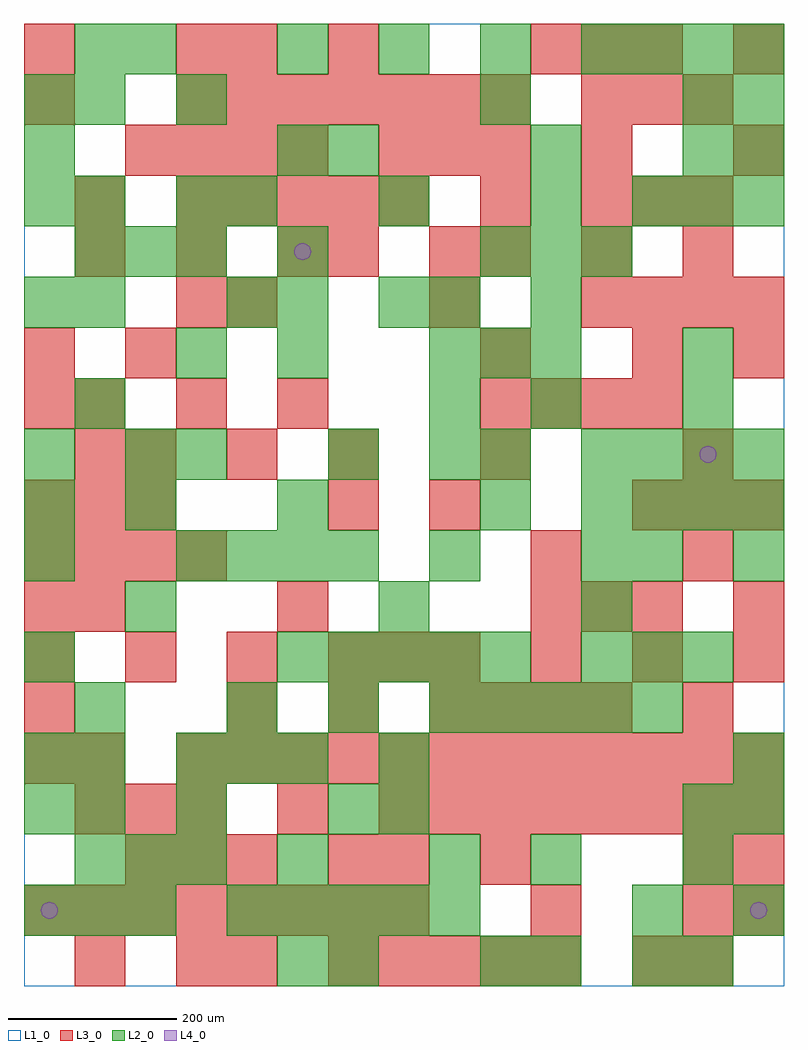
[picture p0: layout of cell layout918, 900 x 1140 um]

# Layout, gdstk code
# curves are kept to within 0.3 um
import gdstk
lib = gdstk.Library(unit=1e-6, precision=1e-09)
def R(c, l, rs):  # rectangles x0, y0, x1, y1
    for r in rs: c.add(gdstk.rectangle(r[:2], r[2:], *l))
def A(c, l, x, y, w, h, nx, ny, dx, dy):  # array of equal rectangles
    R(c, l, [(x+i*dx, y+j*dy, x+i*dx+w, y+j*dy+h) for i in range(nx) for j in range(ny)])
def P(c, l, *ps):  # polygons
    for p in ps: c.add(gdstk.Polygon(p, *l))
L1_0 = (1, 0)
L2_0 = (2, 0)
L3_0 = (3, 0)
L4_0 = (4, 0)

layout918 = lib.new_cell('layout918')
R(layout918, L1_0, [(0,0,900,1140)])
A(layout918, L2_0, 0, 60, 60, 60, 3, 1, 60, 0)
A(layout918, L2_0, 240, 60, 60, 60, 5, 1, 60, 0)
A(layout918, L2_0, 60, 120, 60, 60, 3, 2, 60, 720)
A(layout918, L2_0, 60, 180, 60, 60, 1, 3, 0, 60)
A(layout918, L2_0, 0, 240, 60, 60, 1, 3, 0, 120)
A(layout918, L2_0, 180, 240, 60, 60, 3, 1, 60, 0)
A(layout918, L2_0, 240, 300, 60, 60, 3, 1, 120, 0)
A(layout918, L2_0, 540, 300, 60, 60, 4, 1, 60, 0)
A(layout918, L2_0, 300, 360, 60, 60, 5, 1, 60, 0)
A(layout918, L2_0, 660, 360, 60, 60, 3, 1, 60, 0)
A(layout918, L2_0, 180, 480, 60, 60, 4, 1, 60, 0)
A(layout918, L2_0, 660, 540, 60, 60, 4, 2, 60, 60)
A(layout918, L2_0, 60, 660, 60, 60, 1, 4, 0, 120)
A(layout918, L2_0, 300, 720, 60, 60, 1, 3, 0, 60)
A(layout918, L2_0, 480, 720, 60, 60, 3, 1, 60, 0)
A(layout918, L2_0, 540, 840, 60, 60, 3, 1, 60, 0)
A(layout918, L2_0, 0, 900, 60, 60, 1, 3, 0, 60)
A(layout918, L2_0, 240, 900, 60, 60, 3, 1, 180, 0)
A(layout918, L2_0, 720, 900, 60, 60, 3, 2, 60, 180)
A(layout918, L2_0, 300, 1080, 60, 60, 4, 1, 120, 0)
R(layout918, L2_0, [(300,0,360,60), (360,0,420,60), (540,0,600,60), (600,0,660,60), (720,0,780,60), (780,0,840,60), (720,60,780,120), (840,60,900,120), (300,120,360,180), (480,120,540,180), (600,120,660,180), (780,120,840,180), (0,180,60,240), (180,180,240,240), (360,180,420,240), (420,180,480,240), (780,180,840,240), (840,180,900,240), (420,240,480,300), (840,240,900,300), (120,420,180,480), (420,420,480,480), (660,420,720,480), (480,480,540,540), (660,480,720,540), (720,480,780,540), (840,480,900,540), (0,540,60,600), (120,540,180,600), (300,540,360,600), (540,540,600,600), (0,600,60,660), (120,600,180,660), (180,600,240,660), (360,600,420,660), (480,600,540,660), (540,600,600,660), (480,660,540,720), (600,660,660,720), (780,660,840,720), (180,720,240,780), (780,720,840,780), (0,780,60,840), (240,780,300,840), (420,780,480,840), (480,780,540,840), (600,780,660,840), (180,900,240,960), (300,960,360,1020), (360,960,420,1020), (600,960,660,1020), (780,960,840,1020), (840,960,900,1020), (180,1020,240,1080), (540,1020,600,1080), (780,1020,840,1080), (840,1020,900,1080), (60,1080,120,1140), (120,1080,180,1140)])
A(layout918, L3_0, 360, 0, 60, 60, 5, 1, 60, 0)
A(layout918, L3_0, 780, 0, 60, 60, 1, 3, 0, 60)
A(layout918, L3_0, 0, 60, 60, 60, 8, 1, 60, 0)
A(layout918, L3_0, 120, 120, 60, 60, 3, 1, 60, 0)
A(layout918, L3_0, 840, 120, 60, 60, 1, 3, 0, 300)
A(layout918, L3_0, 60, 180, 60, 60, 3, 1, 60, 0)
A(layout918, L3_0, 420, 180, 60, 60, 8, 1, 60, 0)
A(layout918, L3_0, 60, 240, 60, 60, 1, 3, 0, 180)
A(layout918, L3_0, 180, 240, 60, 60, 12, 1, 60, 0)
A(layout918, L3_0, 240, 300, 60, 60, 3, 1, 120, 0)
A(layout918, L3_0, 540, 300, 60, 60, 3, 1, 60, 0)
A(layout918, L3_0, 0, 360, 60, 60, 4, 1, 120, 0)
A(layout918, L3_0, 480, 360, 60, 60, 4, 1, 120, 0)
A(layout918, L3_0, 600, 420, 60, 60, 3, 2, 60, 660)
A(layout918, L3_0, 0, 480, 60, 60, 4, 1, 60, 0)
A(layout918, L3_0, 0, 540, 60, 60, 3, 1, 60, 0)
A(layout918, L3_0, 720, 540, 60, 60, 3, 1, 60, 0)
A(layout918, L3_0, 120, 600, 60, 60, 3, 1, 120, 0)
A(layout918, L3_0, 60, 660, 60, 60, 3, 2, 120, 180)
A(layout918, L3_0, 540, 660, 60, 60, 4, 1, 60, 0)
A(layout918, L3_0, 660, 780, 60, 60, 4, 1, 60, 0)
A(layout918, L3_0, 540, 840, 60, 60, 3, 1, 120, 0)
A(layout918, L3_0, 180, 900, 60, 60, 5, 1, 60, 0)
A(layout918, L3_0, 660, 900, 60, 60, 3, 2, 60, 120)
A(layout918, L3_0, 120, 960, 60, 60, 4, 1, 60, 0)
A(layout918, L3_0, 420, 960, 60, 60, 3, 1, 60, 0)
A(layout918, L3_0, 180, 1020, 60, 60, 7, 1, 60, 0)
R(layout918, L3_0, [(60,0,120,60), (180,0,240,60), (240,0,300,60), (720,0,780,60), (600,60,660,120), (840,60,900,120), (360,120,420,180), (420,120,480,180), (540,120,600,180), (300,180,360,240), (0,240,60,300), (0,300,60,360), (780,300,840,360), (420,360,480,420), (0,420,60,480), (300,420,360,480), (600,480,660,540), (780,480,840,540), (360,540,420,600), (480,540,540,600), (540,600,600,660), (780,600,840,660), (0,660,60,720), (0,720,60,780), (120,720,180,780), (540,720,600,780), (720,720,780,780), (180,780,240,840), (240,780,300,840), (480,780,540,840), (360,840,420,900), (480,840,540,900), (60,900,120,960), (540,900,600,960), (660,960,720,1020), (840,960,900,1020), (0,1020,60,1080), (0,1080,60,1140), (180,1080,240,1140), (240,1080,300,1140), (360,1080,420,1140), (840,1080,900,1140)])
P(layout918, L4_0, [(40,90),(39.239,93.827),(37.071,97.071),(33.827,99.239),(30,100),(26.173,99.239),(22.929,97.071),(20.761,93.827),(20,90),(20.761,86.173),(22.929,82.929),(26.173,80.761),(30,80),(33.827,80.761),(37.071,82.929),(39.239,86.173)],
  [(340,870),(339.239,873.827),(337.071,877.071),(333.827,879.239),(330,880),(326.173,879.239),(322.929,877.071),(320.761,873.827),(320,870),(320.761,866.173),(322.929,862.929),(326.173,860.761),(330,860),(333.827,860.761),(337.071,862.929),(339.239,866.173)],
  [(820,630),(819.239,633.827),(817.071,637.071),(813.827,639.239),(810,640),(806.173,639.239),(802.929,637.071),(800.761,633.827),(800,630),(800.761,626.173),(802.929,622.929),(806.173,620.761),(810,620),(813.827,620.761),(817.071,622.929),(819.239,626.173)],
  [(880,90),(879.239,93.827),(877.071,97.071),(873.827,99.239),(870,100),(866.173,99.239),(862.929,97.071),(860.761,93.827),(860,90),(860.761,86.173),(862.929,82.929),(866.173,80.761),(870,80),(873.827,80.761),(877.071,82.929),(879.239,86.173)])

lib.write_gds('layout918.gds')
